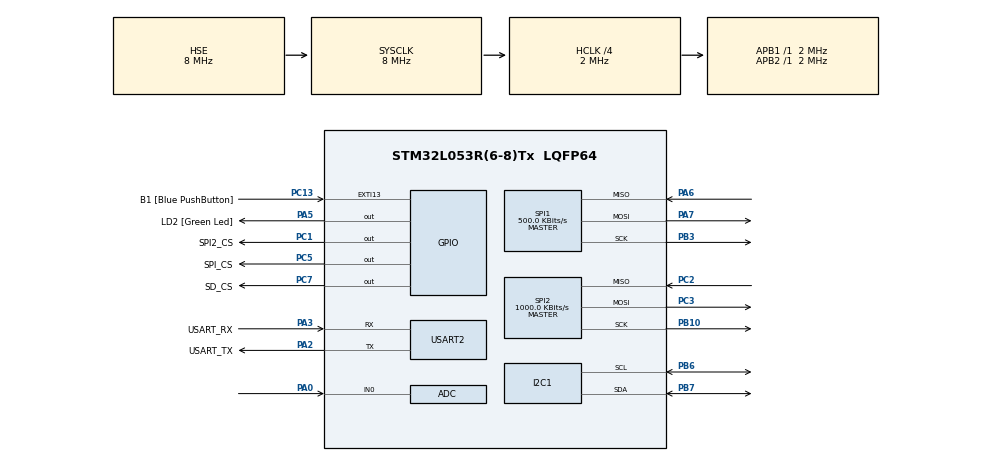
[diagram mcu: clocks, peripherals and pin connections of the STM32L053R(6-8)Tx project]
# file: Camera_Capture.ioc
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ADC.DMAContinuousRequests=ENABLE
ADC.EOCSelection=ADC_EOC_SEQ_CONV
ADC.ExternalTrigConv=ADC_EXTERNALTRIGCONV_T2_TRGO
ADC.Resolution=ADC_RESOLUTION_8B
Dma.ADC.2.Direction=DMA_PERIPH_TO_MEMORY
Dma.ADC.2.Instance=DMA1_Channel1
Dma.ADC.2.MemDataAlignment=DMA_MDATAALIGN_BYTE
Dma.ADC.2.MemInc=DMA_MINC_ENABLE
Dma.ADC.2.Mode=DMA_CIRCULAR
Dma.ADC.2.PeriphDataAlignment=DMA_PDATAALIGN_BYTE
Dma.ADC.2.PeriphInc=DMA_PINC_DISABLE
Dma.ADC.2.Priority=DMA_PRIORITY_LOW
Dma.Request0=SPI1_RX
Dma.Request1=SPI1_TX
Dma.Request2=ADC
Dma.SPI1_RX.0.Direction=DMA_PERIPH_TO_MEMORY
Dma.SPI1_RX.0.Instance=DMA1_Channel2
Dma.SPI1_RX.0.MemDataAlignment=DMA_MDATAALIGN_BYTE
Dma.SPI1_RX.0.MemInc=DMA_MINC_ENABLE
Dma.SPI1_RX.0.Mode=DMA_NORMAL
Dma.SPI1_RX.0.PeriphDataAlignment=DMA_PDATAALIGN_BYTE
Dma.SPI1_RX.0.PeriphInc=DMA_PINC_DISABLE
Dma.SPI1_RX.0.Priority=DMA_PRIORITY_LOW
Dma.SPI1_TX.1.Direction=DMA_MEMORY_TO_PERIPH
Dma.SPI1_TX.1.Instance=DMA1_Channel3
Dma.SPI1_TX.1.MemDataAlignment=DMA_MDATAALIGN_BYTE
Dma.SPI1_TX.1.MemInc=DMA_MINC_ENABLE
Dma.SPI1_TX.1.Mode=DMA_NORMAL
Dma.SPI1_TX.1.PeriphDataAlignment=DMA_PDATAALIGN_BYTE
Dma.SPI1_TX.1.PeriphInc=DMA_PINC_DISABLE
Dma.SPI1_TX.1.Priority=DMA_PRIORITY_LOW
FATFS._MAX_SS=512
FATFS._USE_LFN=1
I2C1.Timing=0x00000509
Mcu.Family=STM32L0
Mcu.Name=STM32L053R(6-8)Tx
Mcu.Package=LQFP64
NVIC.DMA1_Channel1_IRQn=true\:0\:0\:false\:false\:true\:false\:true\:true
NVIC.DMA1_Channel2_3_IRQn=true\:0\:0\:false\:false\:true\:false\:true\:true
NVIC.EXTI4_15_IRQn=true\:0\:0\:false\:false\:true\:true\:true\:true
NVIC.SPI1_IRQn=true\:0\:0\:false\:false\:true\:true\:true\:true
NVIC.TIM21_IRQn=true\:0\:0\:false\:false\:true\:true\:true\:true
NVIC.TIM2_IRQn=true\:0\:0\:false\:false\:true\:true\:true\:true
PA0.Mode=IN0
PA0.Signal=ADC_IN0
PA13.GPIO_Label=TMS
PA13.Mode=Serial_Wire
PA13.Signal=SYS_SWDIO
PA14.GPIO_Label=TCK
PA14.Mode=Serial_Wire
PA14.Signal=SYS_SWCLK
PA2.GPIO_Label=USART_TX
PA2.Mode=Asynchronous
PA2.Signal=USART2_TX
PA3.GPIO_Label=USART_RX
PA3.Mode=Asynchronous
PA3.Signal=USART2_RX
PA5.GPIO_Label=LD2 [Green Led]
PA5.Signal=GPIO_Output
PA6.Mode=Full_Duplex_Master
PA6.Signal=SPI1_MISO
PA7.Mode=Full_Duplex_Master
PA7.Signal=SPI1_MOSI
PB10.Mode=Full_Duplex_Master
PB10.Signal=SPI2_SCK
PB3.Mode=Full_Duplex_Master
PB3.Signal=SPI1_SCK
PB6.Mode=I2C
PB6.Signal=I2C1_SCL
PB7.Mode=I2C
PB7.Signal=I2C1_SDA
PC1.GPIO_Label=SPI2_CS
PC1.Signal=GPIO_Output
PC13.GPIO_Label=B1 [Blue PushButton]
PC13.GPIO_ModeDefaultEXTI=GPIO_MODE_IT_FALLING
PC13.Signal=GPXTI13
PC14-OSC32_IN.Mode=LSE-External-Oscillator
PC14-OSC32_IN.Signal=RCC_OSC32_IN
PC15-OSC32_OUT.Mode=LSE-External-Oscillator
PC15-OSC32_OUT.Signal=RCC_OSC32_OUT
PC2.Mode=Full_Duplex_Master
PC2.Signal=SPI2_MISO
PC3.Mode=Full_Duplex_Master
PC3.Signal=SPI2_MOSI
PC5.GPIO_Label=SPI_CS
PC5.Signal=GPIO_Output
PC7.GPIO_Label=SD_CS
PC7.Signal=GPIO_Output
PH0-OSC_IN.Mode=HSE-External-Clock-Source
PH0-OSC_IN.Signal=RCC_OSC_IN
PH1-OSC_OUT.Signal=RCC_OSC_OUT
ProjectManager.HeapSize=0x200
ProjectManager.StackSize=0x400
ProjectManager.TargetToolchain=STM32CubeIDE
RCC.AHBCLKDivider=RCC_SYSCLK_DIV4
RCC.AHBFreq_Value=2000000
RCC.APB1Freq_Value=2000000
RCC.APB1TimFreq_Value=2000000
RCC.APB2Freq_Value=2000000
RCC.APB2TimFreq_Value=2000000
RCC.HCLKFreq_Value=2000000
RCC.HSE_VALUE=8000000
RCC.HSI16_VALUE=16000000
RCC.HSI48_VALUE=48000000
RCC.HSI_VALUE=16000000
RCC.MSI_VALUE=2097000
RCC.SYSCLKFreq_VALUE=8000000
RCC.SYSCLKSource=RCC_SYSCLKSOURCE_HSE
RCC.VCOOutputFreq_Value=48000000
SPI1.BaudRatePrescaler=SPI_BAUDRATEPRESCALER_4
SPI1.CalculateBaudRate=500.0 KBits/s
SPI1.Direction=SPI_DIRECTION_2LINES
SPI1.Mode=SPI_MODE_MASTER
SPI1.VirtualType=VM_MASTER
SPI2.CalculateBaudRate=1000.0 KBits/s
SPI2.Direction=SPI_DIRECTION_2LINES
SPI2.Mode=SPI_MODE_MASTER
SPI2.VirtualType=VM_MASTER
TIM2.Period=199
TIM2.Prescaler=0
TIM2.TIM_MasterOutputTrigger=TIM_TRGO_UPDATE
TIM21.Period=65501
TIM21.Prescaler=1831
TIM21.TIM_MasterOutputTrigger=TIM_TRGO_RESET
USART2.VirtualMode-Asynchronous=VM_ASYNC
VP_FATFS_VS_Generic.Mode=User_defined
VP_TIM21_VS_ClockSourceINT.Mode=Internal
VP_TIM2_VS_ClockSourceINT.Mode=Internal
board=NUCLEO-L053R8

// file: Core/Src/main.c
/* USER CODE BEGIN Header */
/**
 ******************************************************************************
 * @file           : main.c
 * @brief          : Main program body
 ******************************************************************************
 * @attention
 *
 * Copyright (c) 2024 STMicroelectronics.
 * All rights reserved.
 *
 * This software is licensed under terms that can be found in the LICENSE file
 * in the root directory of this software component.
 * If no LICENSE file comes with this software, it is provided AS-IS.
 *
 ******************************************************************************
 */
/* USER CODE END Header */
#include "main.h"
#include "fatfs.h"

/* USER CODE BEGIN Includes */
#include "ArduCAM.h"
#include "sd_card.h"
/* USER CODE END Includes */

/* USER CODE BEGIN PD */
#define BURST_SIZE 512
#define BURST_SIZE_ADC 512

#define AUDIO_REC_SEC 10

#define VREF          3.3f       // Tension de référence de l'ADC
#define ADC_RES       8          // Résolution de l'ADC en bits
#define ADC_MAX_VAL   255        // Valeur max ADC 8 bits
#define OFFSET_VOLT   1.25f      // Offset du micro en volts

// Calcul de l'offset en valeur brute ADC
#define OFFSET_ADC    ((uint8_t)((OFFSET_VOLT / VREF) * ADC_MAX_VAL))

/* USER CODE END PD */

ADC_HandleTypeDef hadc;
DMA_HandleTypeDef hdma_adc;

I2C_HandleTypeDef hi2c1;

SPI_HandleTypeDef hspi1;
SPI_HandleTypeDef hspi2;
DMA_HandleTypeDef hdma_spi1_rx;
DMA_HandleTypeDef hdma_spi1_tx;

TIM_HandleTypeDef htim2;
TIM_HandleTypeDef htim21;

UART_HandleTypeDef huart2;

/* USER CODE BEGIN PV */

uint8_t DMA_Complet;

uint8_t adc_buffer[BURST_SIZE_ADC];
int8_t adc_buffer_offset[BURST_SIZE_ADC];
uint8_t adc_flag = false;

uint8_t audio_header_flag = false;
uint8_t audio_done_flag = false;
uint16_t audio_index = 0;

uint8_t capture_trigger_flag = false;
uint16_t capture_index = 0;

uint8_t timer_interupt_flag = false;

/* USER CODE END PV */

void SystemClock_Config(void);
static void MX_GPIO_Init(void);
static void MX_DMA_Init(void);
static void MX_USART2_UART_Init(void);
static void MX_SPI1_Init(void);
static void MX_I2C1_Init(void);
static void MX_ADC_Init(void);
static void MX_TIM2_Init(void);
static void MX_SPI2_Init(void);
static void MX_TIM21_Init(void);
/* USER CODE BEGIN PFP */
void Debug_Print(const char *message);
/* USER CODE END PFP */

/* USER CODE BEGIN 0 */

void Start_DMA(SPI_HandleTypeDef *hspi, uint8_t *pData, uint32_t len) {
	// 1. Mettre le CS à LOW pour commencer la communication
	HAL_GPIO_WritePin(SPI_CS_GPIO_Port, SPI_CS_Pin, GPIO_PIN_RESET);

	// 2. Configuration du SPI en mode réception DMA
	if (HAL_SPI_Receive_DMA(hspi, pData, len) != HAL_OK) {
		Error_Handler();
	}
}

void HAL_ADC_ConvCpltCallback(ADC_HandleTypeDef *hadc) {
	HAL_GPIO_WritePin(LD2_GPIO_Port, LD2_Pin, GPIO_PIN_SET);
	adc_flag = 1;
}

void HAL_GPIO_EXTI_Callback(uint16_t GPIO_Pin)
{
	if(GPIO_Pin == B1_Pin){
		capture_trigger_flag = true;
	}
}

void HAL_TIM_PeriodElapsedCallback(TIM_HandleTypeDef* tim){
	if(tim == &htim21){
		timer_interupt_flag = true;
	}
}

void Capture_SD(uint32_t length) {
	uint8_t temp_last;
	uint8_t SD_Buffer[BURST_SIZE];
	uint8_t DMA_Buffer[BURST_SIZE];
	uint8_t is_header = false;
	char filename[25] = "Image";
	sprintf(filename, "Image%u.jpg", capture_index);

	while (SD_Card_Open(filename)) {
		HAL_Delay(100);
	}

	capture_index++;

	while (length > 0) {
		HAL_GPIO_WritePin(SPI_CS_GPIO_Port, SPI_CS_Pin, GPIO_PIN_RESET);
		set_fifo_burst();
		DMA_Complet = 0;

		length = length - BURST_SIZE;
		if (length > BURST_SIZE) {
			Start_DMA(&hspi1, DMA_Buffer, BURST_SIZE);
		} else {
			Start_DMA(&hspi1, DMA_Buffer, BURST_SIZE);
			length = 0;
		}
		while (!DMA_Complet) {
		};
		uint16_t i;
		uint16_t index = 0;
		for (uint16_t i = 0; i < BURST_SIZE; i++) {
			if (is_header == true) {
				SD_Buffer[index] = DMA_Buffer[i];
				index++;

			} else if ((DMA_Buffer[i] == 0xD8) & (temp_last == 0xFF)) {	//If find the start
				SD_Buffer[index] = temp_last;
				SD_Buffer[index + 1] = DMA_Buffer[i];
				index = 2;
				is_header = true;
			}
			if ((DMA_Buffer[i] == 0xD9) && (temp_last == 0xFF)) { //If find the end ,break while,
				is_header = false;
				break;
			}
			temp_last = DMA_Buffer[i];
		}
		uint8_t BW = SD_Card_Write(&SD_Buffer, BURST_SIZE);
	}
	SD_Card_Close();
}

/**
 *  Corrige l'offset de 1.25V sur les données ADC 8 bits.
 */
void Corriger_Offset_ADC(uint8_t *input_data, int8_t *output_data, uint16_t length) {
    for (uint16_t i = 0; i < length; i++) {
        // Suppression de l'offset
        int16_t valeur_corrigee = (int16_t)input_data[i] + 28;

        // Saturation des valeurs entre -128 et 127 (format audio 8 bits signé)
        if (valeur_corrigee > 255) {
            valeur_corrigee = 255;
        } else if (valeur_corrigee < 0) {
            valeur_corrigee = 0;
        }

        output_data[i] = (int8_t)valeur_corrigee;
    }
}

void Save_Audio(uint8_t len, uint16_t buf){
	uint8_t header[44] = {0x52, 0x49, 0x46, 0x46, 0x00, 0xA8, 0x55, 0x20, 0x57, 0x41, 0x56,
					   0x45, 0x66, 0x6d, 0x74, 0x20, 0x10, 0x00, 0x00, 0x00, 0x01, 0x00,
					   0x01, 0x00, 0x10, 0x27, 0x00, 0x00, 0x10, 0x27, 0x00, 0x00, 0x01,
					   0x00, 0x08, 0x00, 0x64, 0x61, 0x74, 0x61, 0x55, 0xd7, 0xff, 0xff};

	if (!audio_header_flag){
		SD_Card_Write(&header, 44);
		audio_header_flag = true;
	}
	Corriger_Offset_ADC(&adc_buffer, &adc_buffer_offset, BURST_SIZE_ADC);
	SD_Card_Write(&adc_buffer_offset, BURST_SIZE_ADC);
}
/* USER CODE END 0 */

int main(void)
{

  /* MCU Configuration--------------------------------------------------------*/

  /* Reset of all peripherals, Initializes the Flash interface and the Systick. */
  HAL_Init();

  /* Configure the system clock */
  SystemClock_Config();

  /* Initialize all configured peripherals */
  MX_GPIO_Init();
  MX_DMA_Init();
  MX_USART2_UART_Init();
  MX_SPI1_Init();
  MX_I2C1_Init();
  MX_FATFS_Init();
  MX_ADC_Init();
  MX_TIM2_Init();
  MX_SPI2_Init();
  MX_TIM21_Init();
  /* USER CODE BEGIN 2 */
	HAL_GPIO_WritePin(SPI_CS_GPIO_Port, SPI_CS_Pin, GPIO_PIN_SET);
	HAL_GPIO_WritePin(SPI2_CS_GPIO_Port, SPI2_CS_Pin, GPIO_PIN_SET);
	HAL_Delay(100);

	uint8_t SD_Status = 1;

	while (1) {
		SD_Status = SD_Card_Init();
		if (!SD_Status) {
			break;
		}
		Debug_Print("No SD Card\r\n");
	}

	Debug_Print("SD Card Mounted Successfully! \r\n");

	ArduCAM_Init(OV2640);
	Debug_Print("ArduCAM Ready! \r\n");

	while(SD_Card_Open("temp.wav")) {
		HAL_Delay(100);
	}

	char audio_filename[25] = "Audio";

	HAL_ADC_Start_DMA(&hadc, &adc_buffer, BURST_SIZE_ADC);
	HAL_TIM_Base_Start(&htim2);

	uint32_t len;
	uint16_t audio_size = 0;

  /* USER CODE END 2 */

  /* Infinite loop */
  /* USER CODE BEGIN WHILE */
	while (1) {
		if (capture_trigger_flag == true) {
			set_power_up();
			ArduCAM_Init(OV2640);
			Debug_Print("Capture Start! \r\n");
			len = SingleCapTransfer();
			Debug_Print("Capture Done! \r\n");
			if (audio_done_flag == true){
				Capture_SD(len);
				Debug_Print("Capture Save! \r\n");
				set_power_down();
				capture_trigger_flag = false;
			}
		}
		if(adc_flag == true && audio_done_flag == false){
			if(audio_size >= 20 * AUDIO_REC_SEC){
				Save_Audio(audio_size, adc_buffer);
				SD_Card_Close();
				//SD_Card_Unmount();
				Debug_Print("Record Finish! \r\n");
				HAL_ADC_Stop_DMA(&hadc);
				audio_size = 0;
				audio_done_flag = true;
			}else{
				Save_Audio(audio_size, adc_buffer);
				audio_size++;
			}
			HAL_GPIO_WritePin(LD2_GPIO_Port, LD2_Pin, GPIO_PIN_RESET);
			adc_flag = 0;
		}
		if(audio_done_flag){
			HAL_TIM_Base_Start_IT(&htim21);
			timer_interupt_flag = false;
			Debug_Print("Going to sleep... \r\n");
			HAL_SuspendTick();
			HAL_PWR_EnterSLEEPMode(PWR_LOWPOWERREGULATOR_ON, PWR_SLEEPENTRY_WFE);
			Debug_Print("Wake up \r\n");
			HAL_ResumeTick();

			if (timer_interupt_flag == true){
				audio_done_flag = false;
				audio_header_flag = false;
				HAL_ADC_Init(&hadc);
				HAL_ADC_Start_DMA(&hadc, &adc_buffer, BURST_SIZE_ADC);
				HAL_TIM_Base_Stop_IT(&htim21);
				sprintf(audio_filename, "Audio%u.wav", capture_index);
				SD_Card_Open(audio_filename);
				capture_index++;
			}
		}
		//Debug_Print("Awake \r\n");
    /* USER CODE END WHILE */

	}
}

void SystemClock_Config(void)
{
  RCC_OscInitTypeDef RCC_OscInitStruct = {0};
  RCC_ClkInitTypeDef RCC_ClkInitStruct = {0};
  RCC_PeriphCLKInitTypeDef PeriphClkInit = {0};

  /** Configure the main internal regulator output voltage
  */
  __HAL_PWR_VOLTAGESCALING_CONFIG(PWR_REGULATOR_VOLTAGE_SCALE1);

  /** Initializes the RCC Oscillators according to the specified parameters
  * in the RCC_OscInitTypeDef structure.
  */
  RCC_OscInitStruct.OscillatorType = RCC_OSCILLATORTYPE_HSE;
  RCC_OscInitStruct.HSEState = RCC_HSE_BYPASS;
  RCC_OscInitStruct.PLL.PLLState = RCC_PLL_NONE;
  if (HAL_RCC_OscConfig(&RCC_OscInitStruct) != HAL_OK)
  {
    Error_Handler();
  }

  /** Initializes the CPU, AHB and APB buses clocks
  */
  RCC_ClkInitStruct.ClockType = RCC_CLOCKTYPE_HCLK|RCC_CLOCKTYPE_SYSCLK
                              |RCC_CLOCKTYPE_PCLK1|RCC_CLOCKTYPE_PCLK2;
  RCC_ClkInitStruct.SYSCLKSource = RCC_SYSCLKSOURCE_HSE;
  RCC_ClkInitStruct.AHBCLKDivider = RCC_SYSCLK_DIV4;
  RCC_ClkInitStruct.APB1CLKDivider = RCC_HCLK_DIV1;
  RCC_ClkInitStruct.APB2CLKDivider = RCC_HCLK_DIV1;

  if (HAL_RCC_ClockConfig(&RCC_ClkInitStruct, FLASH_LATENCY_0) != HAL_OK)
  {
    Error_Handler();
  }
  PeriphClkInit.PeriphClockSelection = RCC_PERIPHCLK_USART2|RCC_PERIPHCLK_I2C1;
  PeriphClkInit.Usart2ClockSelection = RCC_USART2CLKSOURCE_PCLK1;
  PeriphClkInit.I2c1ClockSelection = RCC_I2C1CLKSOURCE_PCLK1;
  if (HAL_RCCEx_PeriphCLKConfig(&PeriphClkInit) != HAL_OK)
  {
    Error_Handler();
  }
}

static void MX_ADC_Init(void)
{

  ADC_ChannelConfTypeDef sConfig = {0};

  /** Configure the global features of the ADC (Clock, Resolution, Data Alignment and number of conversion)
  */
  hadc.Instance = ADC1;
  hadc.Init.OversamplingMode = DISABLE;
  hadc.Init.ClockPrescaler = ADC_CLOCK_SYNC_PCLK_DIV1;
  hadc.Init.Resolution = ADC_RESOLUTION_8B;
  hadc.Init.SamplingTime = ADC_SAMPLETIME_1CYCLE_5;
  hadc.Init.ScanConvMode = ADC_SCAN_DIRECTION_FORWARD;
  hadc.Init.DataAlign = ADC_DATAALIGN_RIGHT;
  hadc.Init.ContinuousConvMode = DISABLE;
  hadc.Init.DiscontinuousConvMode = DISABLE;
  hadc.Init.ExternalTrigConvEdge = ADC_EXTERNALTRIGCONVEDGE_RISING;
  hadc.Init.ExternalTrigConv = ADC_EXTERNALTRIGCONV_T2_TRGO;
  hadc.Init.DMAContinuousRequests = ENABLE;
  hadc.Init.EOCSelection = ADC_EOC_SEQ_CONV;
  hadc.Init.Overrun = ADC_OVR_DATA_PRESERVED;
  hadc.Init.LowPowerAutoWait = DISABLE;
  hadc.Init.LowPowerFrequencyMode = ENABLE;
  hadc.Init.LowPowerAutoPowerOff = DISABLE;
  if (HAL_ADC_Init(&hadc) != HAL_OK)
  {
    Error_Handler();
  }

  /** Configure for the selected ADC regular channel to be converted.
  */
  sConfig.Channel = ADC_CHANNEL_0;
  sConfig.Rank = ADC_RANK_CHANNEL_NUMBER;
  if (HAL_ADC_ConfigChannel(&hadc, &sConfig) != HAL_OK)
  {
    Error_Handler();
  }

}

static void MX_I2C1_Init(void)
{

  hi2c1.Instance = I2C1;
  hi2c1.Init.Timing = 0x00000509;
  hi2c1.Init.OwnAddress1 = 0;
  hi2c1.Init.AddressingMode = I2C_ADDRESSINGMODE_7BIT;
  hi2c1.Init.DualAddressMode = I2C_DUALADDRESS_DISABLE;
  hi2c1.Init.OwnAddress2 = 0;
  hi2c1.Init.OwnAddress2Masks = I2C_OA2_NOMASK;
  hi2c1.Init.GeneralCallMode = I2C_GENERALCALL_DISABLE;
  hi2c1.Init.NoStretchMode = I2C_NOSTRETCH_DISABLE;
  if (HAL_I2C_Init(&hi2c1) != HAL_OK)
  {
    Error_Handler();
  }

  /** Configure Analogue filter
  */
  if (HAL_I2CEx_ConfigAnalogFilter(&hi2c1, I2C_ANALOGFILTER_ENABLE) != HAL_OK)
  {
    Error_Handler();
  }

  /** Configure Digital filter
  */
  if (HAL_I2CEx_ConfigDigitalFilter(&hi2c1, 0) != HAL_OK)
  {
    Error_Handler();
  }

}

static void MX_SPI1_Init(void)
{

  /* SPI1 parameter configuration*/
  hspi1.Instance = SPI1;
  hspi1.Init.Mode = SPI_MODE_MASTER;
  hspi1.Init.Direction = SPI_DIRECTION_2LINES;
  hspi1.Init.DataSize = SPI_DATASIZE_8BIT;
  hspi1.Init.CLKPolarity = SPI_POLARITY_LOW;
  hspi1.Init.CLKPhase = SPI_PHASE_1EDGE;
  hspi1.Init.NSS = SPI_NSS_SOFT;
  hspi1.Init.BaudRatePrescaler = SPI_BAUDRATEPRESCALER_4;
  hspi1.Init.FirstBit = SPI_FIRSTBIT_MSB;
  hspi1.Init.TIMode = SPI_TIMODE_DISABLE;
  hspi1.Init.CRCCalculation = SPI_CRCCALCULATION_DISABLE;
  hspi1.Init.CRCPolynomial = 7;
  if (HAL_SPI_Init(&hspi1) != HAL_OK)
  {
    Error_Handler();
  }

}

static void MX_SPI2_Init(void)
{

  /* SPI2 parameter configuration*/
  hspi2.Instance = SPI2;
  hspi2.Init.Mode = SPI_MODE_MASTER;
  hspi2.Init.Direction = SPI_DIRECTION_2LINES;
  hspi2.Init.DataSize = SPI_DATASIZE_8BIT;
  hspi2.Init.CLKPolarity = SPI_POLARITY_LOW;
  hspi2.Init.CLKPhase = SPI_PHASE_1EDGE;
  hspi2.Init.NSS = SPI_NSS_SOFT;
  hspi2.Init.BaudRatePrescaler = SPI_BAUDRATEPRESCALER_2;
  hspi2.Init.FirstBit = SPI_FIRSTBIT_MSB;
  hspi2.Init.TIMode = SPI_TIMODE_DISABLE;
  hspi2.Init.CRCCalculation = SPI_CRCCALCULATION_DISABLE;
  hspi2.Init.CRCPolynomial = 7;
  if (HAL_SPI_Init(&hspi2) != HAL_OK)
  {
    Error_Handler();
  }

}

static void MX_TIM2_Init(void)
{

  TIM_ClockConfigTypeDef sClockSourceConfig = {0};
  TIM_MasterConfigTypeDef sMasterConfig = {0};

  htim2.Instance = TIM2;
  htim2.Init.Prescaler = 0;
  htim2.Init.CounterMode = TIM_COUNTERMODE_UP;
  htim2.Init.Period = 199;
  htim2.Init.ClockDivision = TIM_CLOCKDIVISION_DIV1;
  htim2.Init.AutoReloadPreload = TIM_AUTORELOAD_PRELOAD_DISABLE;
  if (HAL_TIM_Base_Init(&htim2) != HAL_OK)
  {
    Error_Handler();
  }
  sClockSourceConfig.ClockSource = TIM_CLOCKSOURCE_INTERNAL;
  if (HAL_TIM_ConfigClockSource(&htim2, &sClockSourceConfig) != HAL_OK)
  {
    Error_Handler();
  }
  sMasterConfig.MasterOutputTrigger = TIM_TRGO_UPDATE;
  sMasterConfig.MasterSlaveMode = TIM_MASTERSLAVEMODE_DISABLE;
  if (HAL_TIMEx_MasterConfigSynchronization(&htim2, &sMasterConfig) != HAL_OK)
  {
    Error_Handler();
  }

}

static void MX_TIM21_Init(void)
{

  TIM_ClockConfigTypeDef sClockSourceConfig = {0};
  TIM_MasterConfigTypeDef sMasterConfig = {0};

  htim21.Instance = TIM21;
  htim21.Init.Prescaler = 1831;
  htim21.Init.CounterMode = TIM_COUNTERMODE_UP;
  htim21.Init.Period = 65501;
  htim21.Init.ClockDivision = TIM_CLOCKDIVISION_DIV1;
  htim21.Init.AutoReloadPreload = TIM_AUTORELOAD_PRELOAD_DISABLE;
  if (HAL_TIM_Base_Init(&htim21) != HAL_OK)
  {
    Error_Handler();
  }
  sClockSourceConfig.ClockSource = TIM_CLOCKSOURCE_INTERNAL;
  if (HAL_TIM_ConfigClockSource(&htim21, &sClockSourceConfig) != HAL_OK)
  {
    Error_Handler();
  }
  sMasterConfig.MasterOutputTrigger = TIM_TRGO_RESET;
  sMasterConfig.MasterSlaveMode = TIM_MASTERSLAVEMODE_DISABLE;
  if (HAL_TIMEx_MasterConfigSynchronization(&htim21, &sMasterConfig) != HAL_OK)
  {
    Error_Handler();
  }

}

static void MX_USART2_UART_Init(void)
{

  huart2.Instance = USART2;
  huart2.Init.BaudRate = 115200;
  huart2.Init.WordLength = UART_WORDLENGTH_8B;
  huart2.Init.StopBits = UART_STOPBITS_1;
  huart2.Init.Parity = UART_PARITY_NONE;
  huart2.Init.Mode = UART_MODE_TX_RX;
  huart2.Init.HwFlowCtl = UART_HWCONTROL_NONE;
  huart2.Init.OverSampling = UART_OVERSAMPLING_16;
  huart2.Init.OneBitSampling = UART_ONE_BIT_SAMPLE_DISABLE;
  huart2.AdvancedInit.AdvFeatureInit = UART_ADVFEATURE_NO_INIT;
  if (HAL_UART_Init(&huart2) != HAL_OK)
  {
    Error_Handler();
  }

}

static void MX_DMA_Init(void)
{

  /* DMA controller clock enable */
  __HAL_RCC_DMA1_CLK_ENABLE();

  /* DMA interrupt init */
  /* DMA1_Channel1_IRQn interrupt configuration */
  HAL_NVIC_SetPriority(DMA1_Channel1_IRQn, 0, 0);
  HAL_NVIC_EnableIRQ(DMA1_Channel1_IRQn);
  /* DMA1_Channel2_3_IRQn interrupt configuration */
  HAL_NVIC_SetPriority(DMA1_Channel2_3_IRQn, 0, 0);
  HAL_NVIC_EnableIRQ(DMA1_Channel2_3_IRQn);

}

static void MX_GPIO_Init(void)
{
  GPIO_InitTypeDef GPIO_InitStruct = {0};

  /* GPIO Ports Clock Enable */
  __HAL_RCC_GPIOC_CLK_ENABLE();
  __HAL_RCC_GPIOH_CLK_ENABLE();
  __HAL_RCC_GPIOA_CLK_ENABLE();
  __HAL_RCC_GPIOB_CLK_ENABLE();

  /*Configure GPIO pin Output Level */
  HAL_GPIO_WritePin(GPIOC, SPI2_CS_Pin|SPI_CS_Pin|SD_CS_Pin, GPIO_PIN_RESET);

  /*Configure GPIO pin Output Level */
  HAL_GPIO_WritePin(LD2_GPIO_Port, LD2_Pin, GPIO_PIN_RESET);

  /*Configure GPIO pin : B1_Pin */
  GPIO_InitStruct.Pin = B1_Pin;
  GPIO_InitStruct.Mode = GPIO_MODE_IT_FALLING;
  GPIO_InitStruct.Pull = GPIO_NOPULL;
  HAL_GPIO_Init(B1_GPIO_Port, &GPIO_InitStruct);

  /*Configure GPIO pins : SPI2_CS_Pin SPI_CS_Pin SD_CS_Pin */
  GPIO_InitStruct.Pin = SPI2_CS_Pin|SPI_CS_Pin|SD_CS_Pin;
  GPIO_InitStruct.Mode = GPIO_MODE_OUTPUT_PP;
  GPIO_InitStruct.Pull = GPIO_NOPULL;
  GPIO_InitStruct.Speed = GPIO_SPEED_FREQ_LOW;
  HAL_GPIO_Init(GPIOC, &GPIO_InitStruct);

  /*Configure GPIO pin : LD2_Pin */
  GPIO_InitStruct.Pin = LD2_Pin;
  GPIO_InitStruct.Mode = GPIO_MODE_OUTPUT_PP;
  GPIO_InitStruct.Pull = GPIO_NOPULL;
  GPIO_InitStruct.Speed = GPIO_SPEED_FREQ_LOW;
  HAL_GPIO_Init(LD2_GPIO_Port, &GPIO_InitStruct);

  /* EXTI interrupt init*/
  HAL_NVIC_SetPriority(EXTI4_15_IRQn, 0, 0);
  HAL_NVIC_EnableIRQ(EXTI4_15_IRQn);

}

/* USER CODE BEGIN 4 */

void Debug_Print(const char *message) {
	uint8_t TxBuffer[256];

	sprintf(TxBuffer, message);
	HAL_UART_Transmit(&huart2, (uint8_t*) TxBuffer, strlen(TxBuffer),
	HAL_MAX_DELAY);
}

void HAL_SPI_RxCpltCallback(SPI_HandleTypeDef *hspi) {
	HAL_GPIO_WritePin(SPI_CS_GPIO_Port, SPI_CS_Pin, GPIO_PIN_SET); // Exemple avec GPIOB et PIN 12
	DMA_Complet = 1;
}

void HAL_SPI_TxCpltCallback(SPI_HandleTypeDef *hspi) {

}

/* USER CODE END 4 */

void Error_Handler(void)
{
	__disable_irq();
	while (1) {
	}
}
